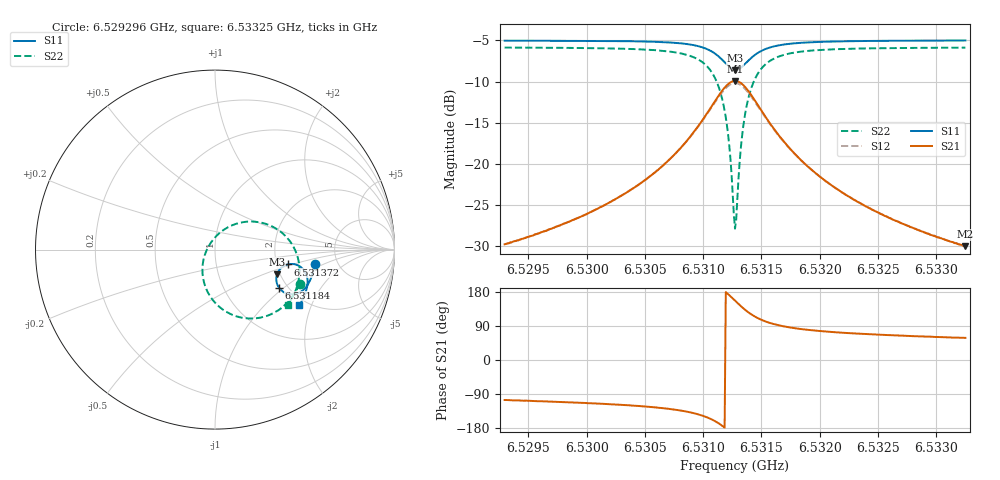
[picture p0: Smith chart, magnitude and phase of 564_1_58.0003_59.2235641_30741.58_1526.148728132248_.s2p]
#  HZ  S  RI  R  50.00
! Rohde & Schwarz Vector Network Analyzer
! Rohde-Schwarz,ZNB20-2Port,1311601062101988,3.16
! Created: UTC 3/21/2024, 1:15:37 AM
! freq[Hz]  re:S11  im:S11  re:S21  im:S21  re:S12  im:S12  re:S22  im:S22
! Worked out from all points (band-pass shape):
!   401 points, 6.529296 GHz to 6.53325 GHz, reference 50 ohm
!   highest |S21| = -9.92 dB at 6.531273 GHz (marker M1); lowest = -30.0 dB at 6.53325 GHz (marker M2)
!   |S21| within 3 dB of the highest: 6.531077 GHz to 6.531472 GHz (394.8 kHz wide, 0.00604 % of centre)
!   lowest |S11| = -8.6 dB at 6.531273 GHz (marker M3), VSWR 2.19, Z = 96.3 - j30.9 ohm
!   |S11| at or under -10 dB: nowhere
!   |S22| runs from -27.9 to -5.9 dB; largest |S21 - S12| = 0.013
!   S11 on the Smith chart (normalised r, x): 6.529296 GHz: 3.35, -0.78; 6.531184 GHz: 1.80, -0.92; 6.531372 GHz: 2.30, -0.46; 6.53325 GHz: 1.82, -1.64
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6.5292963e9  0.5549 -0.08  -0.00869 -0.0312  -0.00928 -0.031  0.4726 -0.1893
6.5299586e9  0.5428 -0.1353  -0.0188 -0.044  -0.0199 -0.0437  0.4391 -0.2505
6.5306208e9  0.5123 -0.202  -0.0546 -0.0751  -0.0567 -0.0736  0.3535 -0.3372
6.5308481e9  0.4838 -0.231  -0.0963 -0.0943  -0.099 -0.0908  0.2699 -0.375
6.5310162e9  0.4382 -0.249  -0.1672 -0.0991  -0.1692 -0.0921  0.1402 -0.3773
6.531115e9  0.3917 -0.2418  -0.2385 -0.07  -0.2372 -0.0599  0.0208 -0.316
6.5311842e9  0.3563 -0.2119  -0.2902 -0.00779  -0.2836 0.00236  -0.0552 -0.2028
6.5312138e9  0.3457 -0.1904  -0.3034 0.0327  -0.2942 0.0413  -0.0696 -0.1336
6.5312336e9  0.3421 -0.1738  -0.3062 0.0632  -0.2956 0.0703  -0.0686 -0.0835
6.5312534e9  0.3419 -0.156  -0.3029 0.0948  -0.2915 0.0999  -0.0576 -0.0322
6.5312731e9  0.3456 -0.1382  -0.2934 0.1257  -0.2815 0.1288  -0.0367 0.0166
6.531283e9  0.3489 -0.1297  -0.2863 0.1404  -0.2746 0.1426  -0.0227 0.0393
6.5312929e9  0.353 -0.1217  -0.2777 0.1544  -0.2663 0.1552  -0.00658 0.0604
6.5313325e9  0.3764 -0.096  -0.2334 0.1982  -0.2239 0.1959  0.0729 0.1249
6.531372e9  0.405 -0.0825  -0.1821 0.221  -0.1752 0.2173  0.1615 0.1536
6.5314412e9  0.45 -0.0832  -0.1036 0.2209  -0.1001 0.2175  0.2926 0.14
6.53154e9  0.4889 -0.1069  -0.0368 0.1869  -0.0353 0.185  0.4001 0.0679
6.5316883e9  0.5108 -0.1444  0.00241 0.1373  0.00368 0.1367  0.4575 -0.0316
6.5319354e9  0.5155 -0.1886  0.0184 0.0892  0.0195 0.0891  0.4706 -0.1314
6.5322121e9  0.5095 -0.2226  0.0206 0.0621  0.0215 0.0619  0.4604 -0.1939
6.5325976e9  0.4965 -0.2586  0.0194 0.0425  0.0202 0.0423  0.4403 -0.2479
6.53325e9  0.4706 -0.308  0.0165 0.0268  0.0172 0.0265  0.4056 -0.3065
